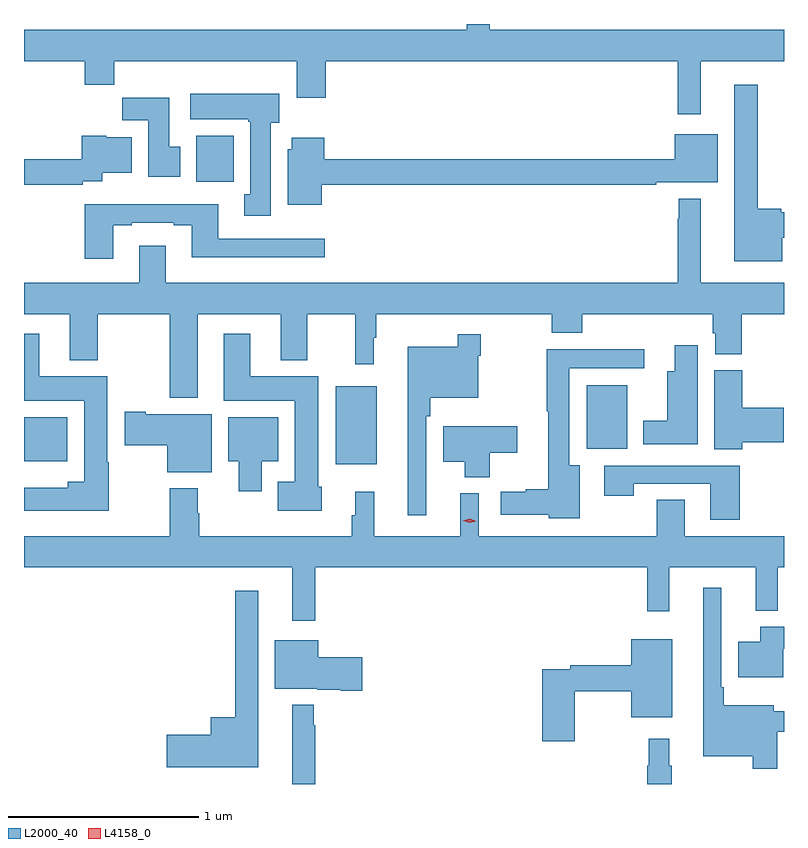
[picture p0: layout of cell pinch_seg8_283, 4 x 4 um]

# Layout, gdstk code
import gdstk
lib = gdstk.Library(unit=1e-6, precision=1e-09)
def R(c, l, rs):  # rectangles x0, y0, x1, y1
    for r in rs: c.add(gdstk.rectangle(r[:2], r[2:], *l))
def P(c, l, *ps):  # polygons
    for p in ps: c.add(gdstk.Polygon(p, *l))
L2000_40 = (2000, 40)
L4158_0 = (4158, 0)

pinch_seg8_283 = lib.new_cell('pinch_seg8_283')
R(pinch_seg8_283, L2000_40, [(503.24,1142.351,503.455,1142.761), (501.598,1142.366,501.826,1142.596), (504.56,1142.432,504.772,1142.767), (502.505,1143.836,502.702,1144.078)])
P(pinch_seg8_283, L2000_40, [(505.159,1144.472),(505.598,1144.472),(505.598,1144.636),(504.049,1144.636),(504.049,1144.667),(503.928,1144.667),(503.928,1144.636),(501.598,1144.636),(501.598,1144.472),(501.917,1144.472),(501.917,1144.348),(502.073,1144.348),(502.073,1144.472),(503.033,1144.472),(503.033,1144.278),(503.186,1144.278),(503.186,1144.472),(505.038,1144.472),(505.038,1144.191),(505.159,1144.191)],
  [(505.588,1143.542),(505.598,1143.542),(505.598,1143.677),(505.584,1143.677),(505.584,1143.695),(505.459,1143.695),(505.459,1144.348),(505.337,1144.348),(505.337,1143.419),(505.588,1143.419)],
  [(502.897,1144.146),(502.942,1144.146),(502.942,1144.3),(502.473,1144.3),(502.473,1144.166),(502.777,1144.166),(502.777,1144.153),(502.79,1144.153),(502.79,1143.77),(502.757,1143.77),(502.757,1143.657),(502.897,1143.657)],
  [(502.42,1144.02),(502.363,1144.02),(502.363,1144.279),(502.114,1144.279),(502.114,1144.16),(502.253,1144.16),(502.253,1143.864),(502.42,1143.864)],
  [(503.164,1143.82),(504.926,1143.82),(504.926,1143.833),(505.249,1143.833),(505.249,1144.087),(505.022,1144.087),(505.022,1143.956),(503.177,1143.956),(503.177,1144.069),(503.006,1144.069),(503.006,1144.008),(502.985,1144.008),(502.985,1143.716),(503.164,1143.716)],
  [(501.908,1143.84),(502.011,1143.84),(502.011,1143.884),(502.165,1143.884),(502.165,1144.072),(502.032,1144.072),(502.032,1144.078),(501.903,1144.078),(501.903,1143.956),(501.598,1143.956),(501.598,1143.82),(501.908,1143.82)],
  [(502.513,1143.14),(502.949,1143.14),(502.949,1142.897),(503.089,1142.897),(503.089,1143.14),(503.341,1143.14),(503.341,1142.877),(503.44,1142.877),(503.44,1143.017),(503.452,1143.017),(503.452,1143.14),(504.376,1143.14),(504.376,1143.041),(504.536,1143.041),(504.536,1143.14),(505.223,1143.14),(505.223,1143.039),(505.235,1143.039),(505.235,1142.929),(505.376,1142.929),(505.376,1143.14),(505.598,1143.14),(505.598,1143.304),(505.159,1143.304),(505.159,1143.748),(505.044,1143.748),(505.044,1143.641),(505.038,1143.641),(505.038,1143.304),(502.345,1143.304),(502.345,1143.499),(502.205,1143.499),(502.205,1143.304),(501.598,1143.304),(501.598,1143.14),(501.839,1143.14),(501.839,1142.897),(501.987,1142.897),(501.987,1143.14),(502.366,1143.14),(502.366,1142.699),(502.513,1142.699)],
  [(502.069,1143.609),(502.165,1143.609),(502.165,1143.621),(502.385,1143.621),(502.385,1143.609),(502.481,1143.609),(502.481,1143.44),(503.182,1143.44),(503.182,1143.537),(502.621,1143.537),(502.621,1143.718),(501.917,1143.718),(501.917,1143.432),(502.069,1143.432)],
  [(502.044,1142.36),(502.036,1142.36),(502.036,1142.812),(501.679,1142.812),(501.679,1143.037),(501.598,1143.037),(501.598,1142.684),(501.914,1142.684),(501.914,1142.257),(501.827,1142.257),(501.827,1142.227),(501.598,1142.227),(501.598,1142.105),(502.044,1142.105)],
  [(503.164,1142.232),(503.146,1142.232),(503.146,1142.812),(502.789,1142.812),(502.789,1143.037),(502.649,1143.037),(502.649,1142.684),(503.024,1142.684),(503.024,1142.257),(502.934,1142.257),(502.934,1142.105),(503.164,1142.105)],
  [(503.715,1142.603),(503.735,1142.603),(503.735,1142.699),(503.988,1142.699),(503.988,1142.921),(504.001,1142.921),(504.001,1143.034),(503.88,1143.034),(503.88,1142.968),(503.618,1142.968),(503.618,1142.082),(503.715,1142.082)],
  [(505.144,1142.977),(505.022,1142.977),(505.022,1142.839),(504.983,1142.839),(504.983,1142.578),(504.857,1142.578),(504.857,1142.456),(505.144,1142.456)],
  [(504.523,1142.344),(504.469,1142.344),(504.469,1142.856),(504.862,1142.856),(504.862,1142.954),(504.349,1142.954),(504.349,1142.629),(504.356,1142.629),(504.356,1142.219),(504.24,1142.219),(504.24,1142.206),(504.108,1142.206),(504.108,1142.084),(504.36,1142.084),(504.36,1142.066),(504.523,1142.066)],
  [(505.379,1142.465),(505.597,1142.465),(505.597,1142.648),(505.379,1142.648),(505.379,1142.844),(505.232,1142.844),(505.232,1142.428),(505.379,1142.428)],
  [(502.585,1142.614),(502.24,1142.614),(502.24,1142.627),(502.128,1142.627),(502.128,1142.449),(502.352,1142.449),(502.352,1142.309),(502.585,1142.309)],
  [(502.849,1142.366),(502.936,1142.366),(502.936,1142.596),(502.673,1142.596),(502.673,1142.366),(502.727,1142.366),(502.727,1142.208),(502.849,1142.208)],
  [(504.048,1142.411),(504.193,1142.411),(504.193,1142.551),(503.804,1142.551),(503.804,1142.363),(503.918,1142.363),(503.918,1142.282),(504.048,1142.282)],
  [(505.364,1142.343),(504.651,1142.343),(504.651,1142.184),(504.807,1142.184),(504.807,1142.247),(505.211,1142.247),(505.211,1142.058),(505.364,1142.058)],
  [(503.131,1141.808),(504.877,1141.808),(504.877,1141.575),(504.995,1141.575),(504.995,1141.808),(505.448,1141.808),(505.448,1141.58),(505.565,1141.58),(505.565,1141.808),(505.598,1141.808),(505.598,1141.972),(505.075,1141.972),(505.075,1142.162),(504.928,1142.162),(504.928,1141.972),(503.991,1141.972),(503.991,1142.197),(503.894,1142.197),(503.894,1141.972),(503.441,1141.972),(503.441,1142.206),(503.342,1142.206),(503.342,1142.081),(503.323,1142.081),(503.323,1141.972),(502.521,1141.972),(502.521,1142.093),(502.513,1142.093),(502.513,1142.224),(502.366,1142.224),(502.366,1141.972),(501.598,1141.972),(501.598,1141.808),(503.009,1141.808),(503.009,1141.527),(503.131,1141.527)],
  [(505.562,1140.942),(505.598,1140.942),(505.598,1141.05),(505.543,1141.05),(505.543,1141.081),(505.282,1141.081),(505.282,1141.177),(505.269,1141.177),(505.269,1141.699),(505.172,1141.699),(505.172,1140.812),(505.434,1140.812),(505.434,1140.747),(505.562,1140.747)],
  [(502.831,1141.684),(502.71,1141.684),(502.71,1141.018),(502.58,1141.018),(502.58,1140.926),(502.35,1140.926),(502.35,1140.755),(502.831,1140.755)],
  [(505.594,1141.378),(505.598,1141.378),(505.598,1141.495),(505.472,1141.495),(505.472,1141.417),(505.358,1141.417),(505.358,1141.229),(505.594,1141.229)],
  [(504.496,1141.156),(504.794,1141.156),(504.794,1141.019),(505.009,1141.019),(505.009,1141.429),(504.794,1141.429),(504.794,1141.292),(504.472,1141.292),(504.472,1141.272),(504.326,1141.272),(504.326,1140.891),(504.496,1140.891)],
  [(503.377,1141.335),(503.146,1141.335),(503.146,1141.423),(502.919,1141.423),(502.919,1141.169),(503.142,1141.169),(503.142,1141.163),(503.264,1141.163),(503.264,1141.157),(503.377,1141.157)],
  [(503.131,1140.977),(503.123,1140.977),(503.123,1141.084),(503.009,1141.084),(503.009,1140.667),(503.131,1140.667)],
  [(505.006,1140.764),(504.994,1140.764),(504.994,1140.904),(504.885,1140.904),(504.885,1140.764),(504.877,1140.764),(504.877,1140.667),(505.006,1140.667)])
P(pinch_seg8_283, L4158_0, [(503.943,1142.042),(503.907,1142.052),(503.907,1142.052),(503.907,1142.052),(503.943,1142.062),(503.979,1142.051),(503.979,1142.051),(503.979,1142.051)])

lib.write_gds('pinch_seg8_283.gds')
